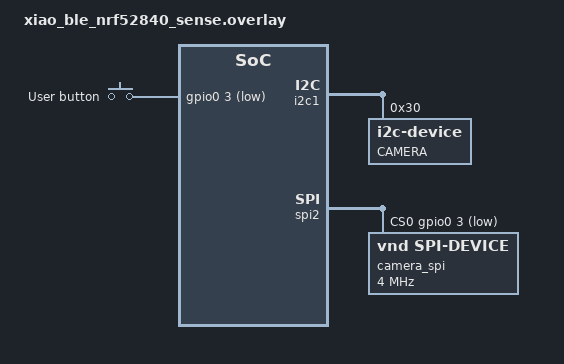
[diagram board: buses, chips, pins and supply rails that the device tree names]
/ {
    chosen {
        zephyr,code-partition = &slot0_partition;
		zephyr,console = &uart0;
		zephyr,shell-uart = &uart0;
		zephyr,uart-mcumgr = &uart0;
		zephyr,bt-mon-uart = &uart0;
		zephyr,bt-c2h-uart = &uart0;
    };
    aliases {
        sw0 = &button0;
    };
    buttons {
        compatible = "gpio-keys";
        button0: button_0 {
            gpios = <&gpio0 3 (GPIO_PULL_UP | GPIO_ACTIVE_LOW)>;
            label = "User button";
        };
    };
};

&i2c1 {
    camera: camera@30 {
        compatible = "i2c-device";
        reg = <0x30>;
        label = "CAMERA";
    };
};

&spi2 {
    cs-gpios = <&gpio0 3 GPIO_ACTIVE_LOW>, <&gpio0 28 GPIO_ACTIVE_LOW>;

    camera_spi: camera_spi_device@0 {
        status = "okay";
        compatible = "vnd,spi-device"; // https: //devzone.nordicsemi.com/f/nordic-q-a/108613/yet-another-zephyr-devicetree-problem-this-time-with-spi-spi-max-frequency-amongst-others
        reg = <0>;
        spi-max-frequency = <4000000>;
    };
};

/delete-node/ &boot_partition;
/delete-node/ &storage_partition;

&flash0 {
    partitions {
		compatible = "fixed-partitions";
		#address-cells = <1>;
		#size-cells = <1>;

		boot_partition: partition@0 {
			label = "mcuboot";
			reg = <0x00000000 0x00011000>;
		};

		slot0_partition: partition@11000 {
			label = "image-0";
			reg = <0x000011000 0x000ed000>;
		};

		/*
		 * The flash starting at 0x000f8000 and ending at
		 * 0x000fffff is reserved for use by the application.
		 */

		/*
		 * Storage partition will be used by FCB/LittleFS/NVS
		 * if enabled.
		 */
		storage_partition: partition@fe000 {
			label = "storage";
			reg = <0x000fe000 0x00001000>;
		};
	};
};

&p25q16h {
    partitions {
        compatible = "fixed-partitions";
        #address-cells = <0x1>;
        #size-cells=<0x1>;

        slot1_partition: partition@0 {
			label = "image-1";
			reg = <0x00000000 0x00100000>;
		};
    };
};
